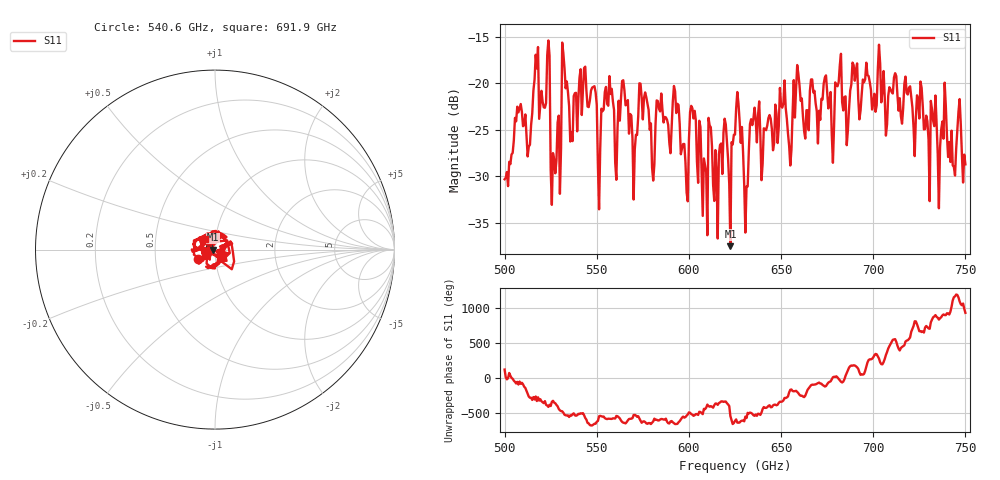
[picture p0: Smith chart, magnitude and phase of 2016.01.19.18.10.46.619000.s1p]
!Created with skrf (http://scikit-rf.org).
# GHz S RI R 50.0
!freq ReS11 ImS11
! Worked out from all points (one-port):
!   401 points, 500 GHz to 750 GHz, reference 50 ohm
!   lowest |S11| = -37.5 dB at 622.5 GHz (marker M1), VSWR 1.03, Z = 48.7 - j0.000257 ohm
!   |S11| at or under -10 dB: start of sweep to end of sweep
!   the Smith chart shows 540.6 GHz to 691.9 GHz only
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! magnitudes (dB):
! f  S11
! 500 GHz  -30.3
! 508.1 GHz  -22.7
! 513.1 GHz  -26.8
! 516.9 GHz  -16.9
! 523.1 GHz  -17.0
! 526.2 GHz  -27.5
! 531.2 GHz  -15.6
! 548.1 GHz  -20.4
! 551.9 GHz  -27.0
! 562.5 GHz  -24.0
! 570.6 GHz  -27.1
! 576.9 GHz  -21.5
! 580 GHz  -29.0
! 593.8 GHz  -22.2
! 598.1 GHz  -28.5
! 601.9 GHz  -22.7
! 608.8 GHz  -28.8
! 611.9 GHz  -24.7
! 614.4 GHz  -27.2
! 620 GHz  -24.4
! 622.5 GHz  -37.5
! 625 GHz  -25.5
! 630.6 GHz  -36.0
! 634.4 GHz  -24.5
! 656.2 GHz  -23.2
! 687.5 GHz  -20.8
! 718.8 GHz  -21.2
! 750 GHz  -28.7
